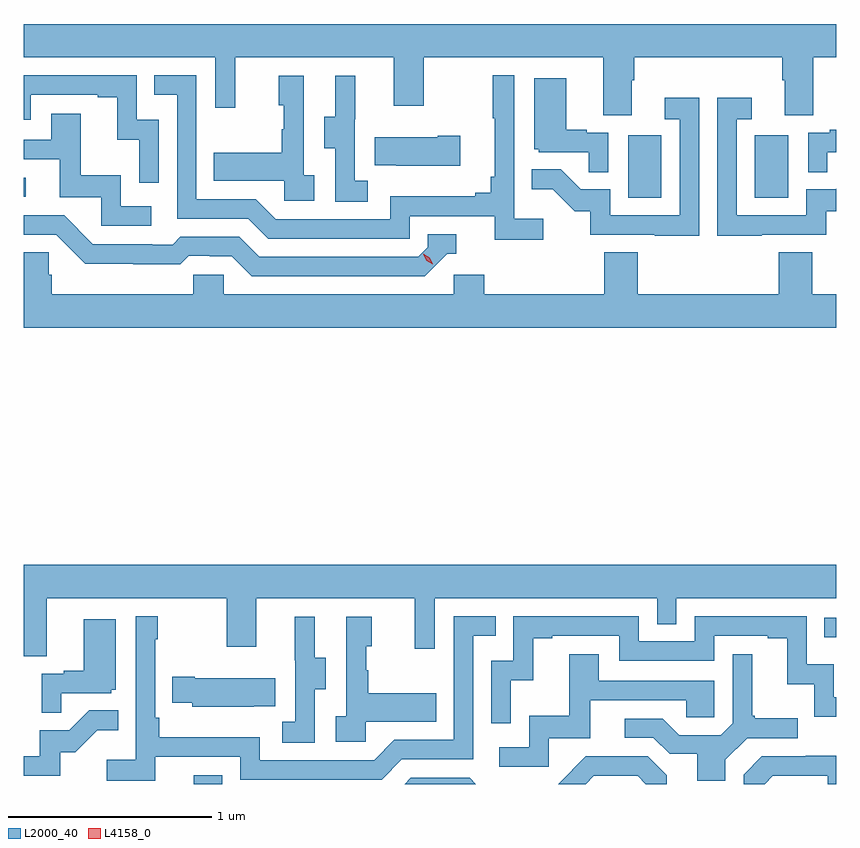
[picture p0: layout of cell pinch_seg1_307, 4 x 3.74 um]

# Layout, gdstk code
import gdstk
lib = gdstk.Library(unit=1e-6, precision=1e-09)
def R(c, l, rs):  # rectangles x0, y0, x1, y1
    for r in rs: c.add(gdstk.rectangle(r[:2], r[2:], *l))
def P(c, l, *ps):  # polygons
    for p in ps: c.add(gdstk.Polygon(p, *l))
L2000_40 = (2000, 40)
L4158_0 = (4158, 0)

pinch_seg1_307 = lib.new_cell('pinch_seg1_307')
R(pinch_seg1_307, L2000_40, [(897.821,549.485,897.96,549.528), (900.925,550.208,900.984,550.305), (899.96,552.372,900.124,552.679), (900.584,552.372,900.748,552.679), (896.984,552.378,896.992,552.471)])
P(pinch_seg1_307, L2000_40, [(896.984,553.064),(897.927,553.064),(897.927,552.816),(898.025,552.816),(898.025,553.064),(898.805,553.064),(898.805,552.825),(898.953,552.825),(898.953,553.064),(899.837,553.064),(899.837,552.778),(899.977,552.778),(899.977,552.952),(899.99,552.952),(899.99,553.064),(900.719,553.064),(900.719,552.952),(900.731,552.952),(900.731,552.778),(900.871,552.778),(900.871,553.064),(900.984,553.064),(900.984,553.228),(896.984,553.228)],
  [(899.542,552.268),(899.4,552.268),(899.4,552.976),(899.292,552.976),(899.292,552.763),(899.303,552.763),(899.303,552.475),(899.284,552.475),(899.284,552.398),(899.207,552.398),(899.207,552.379),(898.788,552.379),(898.788,552.267),(898.224,552.267),(898.125,552.366),(897.834,552.366),(897.834,552.975),(897.625,552.975),(897.625,552.879),(897.738,552.879),(897.738,552.27),(898.088,552.27),(898.187,552.171),(898.884,552.171),(898.884,552.282),(899.303,552.282),(899.303,552.166),(899.542,552.166)],
  [(897.648,552.756),(897.54,552.756),(897.54,552.975),(896.984,552.975),(896.984,552.756),(897.018,552.756),(897.018,552.879),(897.347,552.879),(897.347,552.867),(897.443,552.867),(897.443,552.659),(897.552,552.659),(897.552,552.447),(897.648,552.447)],
  [(898.678,552.455),(898.614,552.455),(898.614,552.759),(898.616,552.759),(898.616,552.973),(898.517,552.973),(898.517,552.771),(898.463,552.771),(898.463,552.616),(898.518,552.616),(898.518,552.352),(898.678,552.352)],
  [(898.414,552.482),(898.362,552.482),(898.362,552.973),(898.238,552.973),(898.238,552.828),(898.264,552.828),(898.264,552.71),(898.254,552.71),(898.254,552.595),(897.919,552.595),(897.919,552.455),(898.266,552.455),(898.266,552.357),(898.414,552.357)],
  [(899.862,552.693),(899.756,552.693),(899.756,552.706),(899.656,552.706),(899.656,552.961),(899.498,552.961),(899.498,552.612),(899.52,552.612),(899.52,552.597),(899.767,552.597),(899.767,552.499),(899.862,552.499)],
  [(900.617,552.189),(900.936,552.189),(900.936,552.306),(900.984,552.306),(900.984,552.417),(900.981,552.414),(900.837,552.414),(900.837,552.285),(900.495,552.285),(900.495,552.759),(900.568,552.759),(900.568,552.865),(900.399,552.865),(900.399,552.184),(900.617,552.184)],
  [(900.309,552.865),(900.141,552.865),(900.141,552.759),(900.213,552.759),(900.213,552.285),(899.871,552.285),(899.871,552.414),(899.727,552.414),(899.629,552.512),(899.485,552.512),(899.485,552.413),(899.589,552.413),(899.696,552.306),(899.773,552.306),(899.773,552.189),(900.091,552.189),(900.091,552.184),(900.309,552.184)],
  [(897.61,552.33),(897.462,552.33),(897.462,552.484),(897.263,552.484),(897.263,552.787),(897.119,552.787),(897.119,552.657),(896.984,552.657),(896.984,552.561),(897.161,552.561),(897.161,552.375),(897.366,552.375),(897.366,552.234),(897.61,552.234)],
  [(900.941,552.597),(900.984,552.597),(900.984,552.706),(900.953,552.706),(900.953,552.693),(900.846,552.693),(900.846,552.499),(900.941,552.499)],
  [(899.134,552.678),(899.021,552.678),(899.021,552.67),(898.711,552.67),(898.711,552.533),(898.819,552.533),(898.819,552.53),(899.134,552.53)],
  [(899.07,552.096),(899.113,552.096),(899.113,552.192),(898.974,552.192),(898.974,552.129),(898.926,552.081),(898.143,552.081),(898.044,552.18),(897.755,552.18),(897.716,552.141),(897.617,552.141),(897.617,552.144),(897.324,552.144),(897.183,552.285),(896.984,552.285),(896.984,552.189),(897.144,552.189),(897.286,552.047),(897.522,552.047),(897.522,552.045),(897.755,552.045),(897.797,552.087),(897.9,552.087),(897.9,552.084),(898.007,552.084),(898.106,551.985),(898.959,551.985)],
  [(900.984,551.896),(900.866,551.896),(900.866,552.104),(900.701,552.104),(900.701,551.896),(900.008,551.896),(900.008,552.104),(899.843,552.104),(899.843,551.896),(899.252,551.896),(899.252,551.994),(899.1,551.994),(899.1,551.896),(897.969,551.896),(897.969,551.994),(897.819,551.994),(897.819,551.896),(897.122,551.896),(897.122,551.994),(897.107,551.994),(897.107,552.104),(896.984,552.104),(896.984,551.732),(900.984,551.732)],
  [(897.097,550.4),(897.982,550.4),(897.982,550.161),(898.129,550.161),(898.129,550.4),(898.91,550.4),(898.91,550.152),(899.007,550.152),(899.007,550.4),(900.102,550.4),(900.102,550.273),(900.198,550.273),(900.198,550.4),(900.984,550.4),(900.984,550.564),(896.984,550.564),(896.984,550.114),(897.097,550.114)],
  [(897.632,549.618),(898.05,549.618),(898.05,549.507),(898.747,549.507),(898.846,549.606),(899.196,549.606),(899.196,550.215),(899.309,550.215),(899.309,550.311),(899.1,550.311),(899.1,549.702),(898.809,549.702),(898.71,549.603),(898.146,549.603),(898.146,549.715),(897.65,549.715),(897.65,549.811),(897.63,549.811),(897.63,550.199),(897.643,550.199),(897.643,550.312),(897.534,550.312),(897.534,549.604),(897.393,549.604),(897.393,549.502),(897.632,549.502)],
  [(899.382,549.995),(899.492,549.995),(899.492,550.203),(899.587,550.203),(899.587,550.215),(899.916,550.215),(899.916,550.092),(900.384,550.092),(900.384,550.215),(900.647,550.215),(900.647,550.203),(900.743,550.203),(900.743,549.977),(900.876,549.977),(900.876,549.816),(900.984,549.816),(900.984,549.912),(900.972,549.912),(900.972,550.075),(900.84,550.075),(900.84,550.311),(900.288,550.311),(900.288,550.188),(900.012,550.188),(900.012,550.311),(899.394,550.311),(899.394,550.092),(899.286,550.092),(899.286,549.783),(899.382,549.783)],
  [(898.416,549.952),(898.471,549.952),(898.471,550.107),(898.417,550.107),(898.417,550.309),(898.319,550.309),(898.319,550.095),(898.32,550.095),(898.32,549.791),(898.257,549.791),(898.257,549.688),(898.416,549.688)],
  [(898.668,549.791),(899.015,549.791),(899.015,549.931),(898.681,549.931),(898.681,550.046),(898.671,550.046),(898.671,550.164),(898.696,550.164),(898.696,550.309),(898.572,550.309),(898.572,549.818),(898.521,549.818),(898.521,549.693),(898.668,549.693)],
  [(897.167,549.933),(897.414,549.933),(897.414,549.948),(897.436,549.948),(897.436,550.297),(897.278,550.297),(897.278,550.042),(897.179,550.042),(897.179,550.029),(897.072,550.029),(897.072,549.835),(897.167,549.835)],
  [(899.568,549.711),(899.773,549.711),(899.773,549.897),(900.247,549.897),(900.247,549.813),(900.384,549.813),(900.384,549.993),(899.815,549.993),(899.815,550.123),(899.671,550.123),(899.671,549.82),(899.472,549.82),(899.472,549.666),(899.325,549.666),(899.325,549.57),(899.568,549.57)],
  [(900.439,549.604),(900.546,549.711),(900.796,549.711),(900.796,549.808),(900.583,549.808),(900.583,549.82),(900.571,549.82),(900.571,550.123),(900.474,550.123),(900.474,549.783),(900.417,549.726),(900.211,549.726),(900.13,549.807),(899.943,549.807),(899.943,549.714),(900.084,549.714),(900.164,549.634),(900.299,549.634),(900.299,549.502),(900.439,549.502)],
  [(898.115,549.869),(898.223,549.869),(898.223,550.006),(897.826,550.006),(897.826,550.014),(897.715,550.014),(897.715,549.884),(897.813,549.884),(897.813,549.866),(898.115,549.866)],
  [(897.162,549.642),(897.238,549.642),(897.345,549.749),(897.449,549.749),(897.449,549.848),(897.305,549.848),(897.207,549.75),(897.063,549.75),(897.063,549.621),(896.984,549.621),(896.984,549.525),(897.162,549.525)],
  [(900.672,549.525),(900.942,549.525),(900.942,549.485),(900.984,549.485),(900.984,549.623),(900.834,549.623),(900.834,549.621),(900.618,549.621),(900.528,549.531),(900.528,549.485),(900.632,549.485)],
  [(899.79,549.525),(900.006,549.525),(900.046,549.485),(900.151,549.485),(900.151,549.527),(900.057,549.621),(899.751,549.621),(899.615,549.485),(899.75,549.485)],
  [(899.179,549.516),(898.89,549.516),(898.859,549.485),(899.21,549.485)])
P(pinch_seg1_307, L4158_0, [(898.998,552.044),(898.967,552.063),(898.951,552.095),(898.951,552.096),(898.951,552.096),(898.982,552.076),(898.998,552.044),(898.998,552.044)])

lib.write_gds('pinch_seg1_307.gds')
